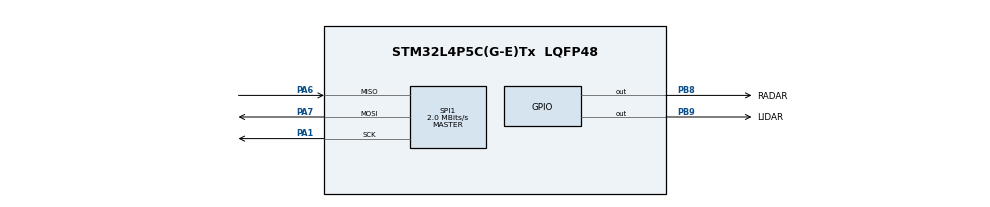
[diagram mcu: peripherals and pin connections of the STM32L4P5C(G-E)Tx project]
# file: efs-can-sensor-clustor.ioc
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Mcu.Family=STM32L4
Mcu.Name=STM32L4P5C(G-E)Tx
Mcu.Package=LQFP48
NVIC.PriorityGroup=NVIC_PRIORITYGROUP_4
PA1.Mode=Full_Duplex_Master
PA1.Signal=SPI1_SCK
PA6.Mode=Full_Duplex_Master
PA6.Signal=SPI1_MISO
PA7.Mode=Full_Duplex_Master
PA7.Signal=SPI1_MOSI
PB8.GPIO_Label=RADAR
PB8.Signal=GPIO_Output
PB9.GPIO_Label=LIDAR
PB9.Signal=GPIO_Output
ProjectManager.HeapSize=0x200
ProjectManager.StackSize=0x400
ProjectManager.TargetToolchain=STM32CubeIDE
RCC.HSE_VALUE=8000000
RCC.HSI48_VALUE=48000000
RCC.HSI_VALUE=16000000
RCC.LSE_VALUE=32768
RCC.MSI_VALUE=4000000
RCC.VCOOutputFreq_Value=32000000
SPI1.CalculateBaudRate=2.0 MBits/s
SPI1.Direction=SPI_DIRECTION_2LINES
SPI1.Mode=SPI_MODE_MASTER
SPI1.VirtualType=VM_MASTER
board=custom

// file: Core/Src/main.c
/* USER CODE BEGIN Header */
/**
  ******************************************************************************
  * @file           : main.c
  * @brief          : Main program body
  ******************************************************************************
  * @attention
  *
  * Copyright (c) 2024 STMicroelectronics.
  * All rights reserved.
  *
  * This software is licensed under terms that can be found in the LICENSE file
  * in the root directory of this software component.
  * If no LICENSE file comes with this software, it is provided AS-IS.
  *
  ******************************************************************************
  */
/* USER CODE END Header */
#include "main.h"
#include "spi.h"
#include "gpio.h"

/* USER CODE BEGIN Includes */
#include "example_detector_distance.h"

/* USER CODE END Includes */

/* USER CODE BEGIN PD */
static void spi_select(int sensor_id);
/* USER CODE END PD */

/* USER CODE BEGIN PM */
#define RADAR_ID 0
#define LIDAR_ID 1
/* USER CODE END PM */

void SystemClock_Config(void);

/* USER CODE BEGIN 0 */
static void spi_select(int sensor_id){
	switch(sensor_id){
		case RADAR_ID:
			HAL_GPIO_WritePin(GPIO_B, RADAR_Pin, GPIO_PIN_RESET);
			HAL_GPIO_WritePin(GPIO_B, LIDAR_Pin, GPIO_PIN_SET);
			break;
		case LIDAR_ID:
			HAL_GPIO_WritePin(GPIO_B, RADAR_Pin, GPIO_PIN_SET);
			HAL_GPIO_WritePin(GPIO_B, LIDAR_Pin, GPIO_PIN_RESET);
			break;
		default:
			break;
	}
}
/* USER CODE END 0 */

int main(void)
{

  /* MCU Configuration--------------------------------------------------------*/

  /* Reset of all peripherals, Initializes the Flash interface and the Systick. */
  HAL_Init();

  /* Configure the system clock */
  SystemClock_Config();

  /* Initialize all configured peripherals */
  MX_GPIO_Init();
  MX_SPI1_Init();

  /* Infinite loop */
  /* USER CODE BEGIN WHILE */
  while (1)
  {
	  acc_example_detector_distance(0, NULL); // this is the example code, replace with the cpp instead at some point
    /* USER CODE END WHILE */

  }
}

void SystemClock_Config(void)
{
  RCC_OscInitTypeDef RCC_OscInitStruct = {0};
  RCC_ClkInitTypeDef RCC_ClkInitStruct = {0};

  /** Configure the main internal regulator output voltage
  */
  if (HAL_PWREx_ControlVoltageScaling(PWR_REGULATOR_VOLTAGE_SCALE1) != HAL_OK)
  {
    Error_Handler();
  }

  /** Initializes the RCC Oscillators according to the specified parameters
  * in the RCC_OscInitTypeDef structure.
  */
  RCC_OscInitStruct.OscillatorType = RCC_OSCILLATORTYPE_MSI;
  RCC_OscInitStruct.MSIState = RCC_MSI_ON;
  RCC_OscInitStruct.MSICalibrationValue = 0;
  RCC_OscInitStruct.MSIClockRange = RCC_MSIRANGE_6;
  RCC_OscInitStruct.PLL.PLLState = RCC_PLL_NONE;
  if (HAL_RCC_OscConfig(&RCC_OscInitStruct) != HAL_OK)
  {
    Error_Handler();
  }

  /** Initializes the CPU, AHB and APB buses clocks
  */
  RCC_ClkInitStruct.ClockType = RCC_CLOCKTYPE_HCLK|RCC_CLOCKTYPE_SYSCLK
                              |RCC_CLOCKTYPE_PCLK1|RCC_CLOCKTYPE_PCLK2;
  RCC_ClkInitStruct.SYSCLKSource = RCC_SYSCLKSOURCE_MSI;
  RCC_ClkInitStruct.AHBCLKDivider = RCC_SYSCLK_DIV1;
  RCC_ClkInitStruct.APB1CLKDivider = RCC_HCLK_DIV1;
  RCC_ClkInitStruct.APB2CLKDivider = RCC_HCLK_DIV1;

  if (HAL_RCC_ClockConfig(&RCC_ClkInitStruct, FLASH_LATENCY_0) != HAL_OK)
  {
    Error_Handler();
  }
}

void Error_Handler(void)
{
  __disable_irq();
  while (1)
  {
  }
}
